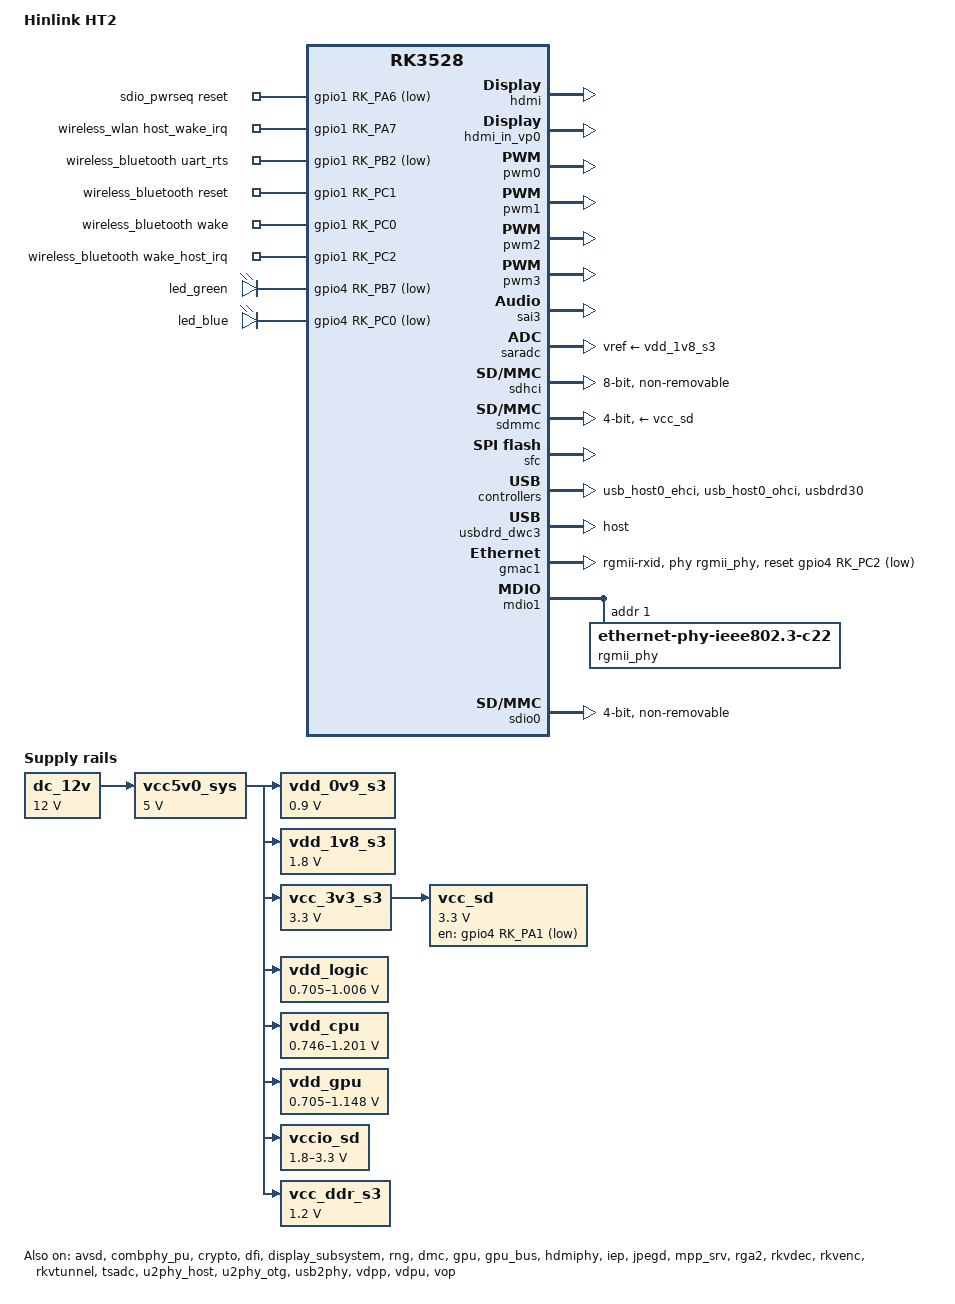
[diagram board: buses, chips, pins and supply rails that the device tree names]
// SPDX-License-Identifier: (GPL-2.0+ OR MIT)
/*
 * Copyright (c) 2024 Rockchip Electronics Co., Ltd.
 *
 */

/dts-v1/;

#include "rk3528.dtsi"
#include <dt-bindings/gpio/gpio.h>
#include <dt-bindings/input/rk-input.h>
#include <dt-bindings/pinctrl/rockchip.h>
#include "rk3528-linux.dtsi"
#include "../rockchip-drm-vvop.dtsi"

/ {
	model = "Hinlink HT2";
	compatible = "hinlink,ht2", "rockchip,rk3528";
	
	aliases {
		ethernet0 = &gmac1;
		mmc0 = &sdmmc;
		mmc1 = &sdhci;
		led-boot = &led_work;
		led-failsafe = &led_work;
		led-running = &led_work;
		led-upgrade = &led_work;
	};
	
	firmware: firmware {
		optee {
			compatible = "linaro,optee-tz";
			method = "smc";
		};
	};
	
	reserved_memory: reserved-memory {
		#address-cells = <2>;
		#size-cells = <2>;
		ranges;
		
		cmd: cma {
			compatible = "shared-dma-pool";
			reusable;
			size = <0x00 0x2000000>;
			linux,cma-default;
		};

		drm_logo: drm-logo@00000000 {
			compatible = "rockchip,drm-logo";
			reg = <0x0 0x0 0x0 0x0>;
		};

		drm_cubic_lut: drm-cubic-lut@00000000 {
			compatible = "rockchip,drm-cubic-lut";
			reg = <0x0 0x0 0x0 0x0>;
		};

		ramoops: ramoops@110000 {
			compatible = "ramoops";
			/* 0x110000 to 0x1f0000 is for ramoops */
			reg = <0x0 0x110000 0x0 0xe0000>;
			boot-log-size = <0x8000>;	/* do not change */
			boot-log-count = <0x1>;		/* do not change */
			console-size = <0x80000>;
			pmsg-size = <0x30000>;
			ftrace-size = <0x00000>;
			record-size = <0x14000>;
		};
	};

	adc_keys: adc-keys {
		status = "disabled";
		compatible = "adc-keys";
		io-channels = <&saradc 1>;
		io-channel-names = "buttons";
		keyup-threshold-microvolt = <1800000>;
		poll-interval = <100>;

		vol-up-key {
			label = "volume up";
			linux,code = <KEY_VOLUMEUP>;
			press-threshold-microvolt = <1750>;
		};
	};

	dc_12v: dc-12v {
		compatible = "regulator-fixed";
		regulator-name = "dc_12v";
		regulator-always-on;
		regulator-boot-on;
		regulator-min-microvolt = <12000000>;
		regulator-max-microvolt = <12000000>;
	};
	
	vcc5v0_sys: vcc5v0-sys {
		compatible = "regulator-fixed";
		regulator-name = "vcc5v0_sys";
		regulator-always-on;
		regulator-boot-on;
		regulator-min-microvolt = <5000000>;
		regulator-max-microvolt = <5000000>;
		vin-supply = <&dc_12v>;
	};
	
	vdd_0v9_s3: vdd-0v9-s3 {
		compatible = "regulator-fixed";
		regulator-name = "vdd_0v9_s3";
		regulator-always-on;
		regulator-boot-on;
		regulator-min-microvolt = <900000>;
		regulator-max-microvolt = <900000>;
		vin-supply = <&vcc5v0_sys>;
	};

	vdd_1v8_s3: vdd-1v8-s3 {
		compatible = "regulator-fixed";
		regulator-name = "vdd_1v8_s3";
		regulator-always-on;
		regulator-boot-on;
		regulator-min-microvolt = <1800000>;
		regulator-max-microvolt = <1800000>;
		vin-supply = <&vcc5v0_sys>;
	};

	vcc_3v3_s3: vcc-3v3-s3 {
		compatible = "regulator-fixed";
		regulator-name = "vcc_3v3_s3";
		regulator-always-on;
		regulator-boot-on;
		regulator-min-microvolt = <3300000>;
		regulator-max-microvolt = <3300000>;
		vin-supply = <&vcc5v0_sys>;
	};

	vdd_logic: vdd-logic {
		compatible = "pwm-regulator";
		pwms = <&pwm2 0 5000 1>;
		regulator-name = "vdd_logic";
		regulator-min-microvolt = <705000>;
		regulator-max-microvolt = <1006000>;
		regulator-init-microvolt = <900000>;
		regulator-always-on;
		regulator-boot-on;
		regulator-settling-time-up-us = <250>;
		pwm-supply = <&vcc5v0_sys>;
		status = "okay";
	};

	vdd_cpu: vdd-cpu {
		compatible = "pwm-regulator";
		pwms = <&pwm1 0 5000 1>;
		regulator-name = "vdd_cpu";
		regulator-min-microvolt = <746000>;
		regulator-max-microvolt = <1201000>;
		regulator-init-microvolt = <953000>;
		regulator-always-on;
		regulator-boot-on;
		regulator-ramp-delay = <6001>;
		regulator-settling-time-up-us = <250>;
		pwm-supply = <&vcc5v0_sys>;
		status = "okay";
	};

	vdd_gpu: vdd-gpu {
		compatible = "pwm-regulator";
		pwms = <&pwm0 0 5000 1>;
		regulator-name = "vdd_gpu";
		regulator-min-microvolt = <705000>;
		regulator-max-microvolt = <1148000>;
		regulator-init-microvolt = <900000>;
		regulator-always-on;
		regulator-boot-on;
		regulator-settling-time-up-us = <250>;
		pwm-supply = <&vcc5v0_sys>;
		status = "okay";
	};

	/omit-if-no-ref/
	vccio_sd: vccio-sd {
		compatible = "regulator-gpio";
		regulator-name = "vccio_sd";
		regulator-min-microvolt = <1800000>;
		regulator-max-microvolt = <3300000>;
		gpios = <&gpio4 RK_PB6 GPIO_ACTIVE_HIGH>;
		vin-supply = <&vcc5v0_sys>;
		states = <1800000 0x0
			  3300000 0x1>;
	};

	/omit-if-no-ref/
	vcc_sd: vcc-sd {
		compatible = "regulator-fixed";
		gpio = <&gpio4 RK_PA1 GPIO_ACTIVE_LOW>;
		regulator-name = "vcc_sd";
		regulator-min-microvolt = <3300000>;
		regulator-max-microvolt = <3300000>;
		vin-supply = <&vcc_3v3_s3>;
	};

	vcc_ddr_s3: vcc-ddr-s3 {
		compatible = "regulator-fixed";
		regulator-name = "vcc_ddr_s3";
		regulator-always-on;
		regulator-boot-on;
		regulator-min-microvolt = <1200000>;
		regulator-max-microvolt = <1200000>;
		vin-supply = <&vcc5v0_sys>;
	};
	
	hdmi_sound: hdmi-sound {
		compatible = "rockchip,hdmi";
		rockchip,mclk-fs = <128>;
		rockchip,card-name = "rockchip,hdmi";
		rockchip,cpu = <&sai3>;
		rockchip,codec = <&hdmi>;
		rockchip,jack-det;
	};

	sdio_pwrseq: sdio-pwrseq {
		compatible = "mmc-pwrseq-simple";
		pinctrl-names = "default";
		pinctrl-0 = <&wifi_enable_h>;
		reset-gpios = <&gpio1 RK_PA6 GPIO_ACTIVE_LOW>;
	};	

	wireless_wlan: wireless-wlan {
		compatible = "wlan-platdata";
		rockchip,grf = <&grf>;
		wifi_chip_type = "ap6275s";
		pinctrl-names = "default";
		pinctrl-0 = <&wifi_host_wake_irq>;
		WIFI,host_wake_irq = <&gpio1 RK_PA7 GPIO_ACTIVE_HIGH>;
		status = "okay";
	};

	wireless_bluetooth: wireless-bluetooth {
		compatible = "bluetooth-platdata";		
		//wifi-bt-power-toggle;
		uart_rts_gpios = <&gpio1 RK_PB2 GPIO_ACTIVE_LOW>;
		pinctrl-names = "default", "rts_gpio";
		pinctrl-0 = <&uart2m1_rtsn>, <&bt_reset_gpio>, <&bt_wake_gpio>, <&bt_host_wake_irq>;
		pinctrl-1 = <&uart2m1_gpios>;
		BT,reset_gpio    = <&gpio1 RK_PC1 GPIO_ACTIVE_HIGH>;
		BT,wake_gpio     = <&gpio1 RK_PC0 GPIO_ACTIVE_HIGH>;
		BT,wake_host_irq = <&gpio1 RK_PC2 GPIO_ACTIVE_HIGH>;
		status = "okay";
	};

	leds {
		compatible = "gpio-leds";
		pinctrl-names = "default";
		pinctrl-0 = <&led_green_en>, <&led_blue_en>;

		led_work: led-work {
			label = "led_green";
			gpios = <&gpio4 RK_PB7 GPIO_ACTIVE_LOW>;						
			linux,default-trigger = "heartbeat";
		};

		led-blue {
			label = "led_blue";
			gpios = <&gpio4 RK_PC0 GPIO_ACTIVE_LOW>;
			linux,default-trigger = "default-on";
		};
	};

};

&avsd {
	status = "okay";
};

&combphy_pu {
	status = "okay";
};

&cpu0 {
	cpu-supply = <&vdd_cpu>;
};

&crypto {
	status = "okay";
};

&dfi {
	status = "okay";
};

&display_subsystem {
	status = "okay";
	memory-region = <&drm_logo>, <&drm_cubic_lut>;
	memory-region-names = "drm-logo", "drm-cubic-lut";
	/* devfreq = <&dmc>; */

	route {
		route_hdmi: route-hdmi {
			status = "okay";
			logo,uboot = "logo.bmp";
			logo,kernel = "logo_kernel.bmp";
			logo,mode = "center";
			charge_logo,mode = "center";
			connect = <&vp0_out_hdmi>;
		};
		route_tve: route-tve {
			status = "okay";
			logo,uboot = "logo.bmp";
			logo,kernel = "logo_kernel.bmp";
			logo,mode = "center";
			charge_logo,mode = "center";
			connect = <&vp1_out_tve>;
		};
	};	
};

&rng {
	status = "okay";
};

&dmc {
	center-supply = <&vdd_logic>;
	status = "okay";
};

&gpu {
	mali-supply = <&vdd_gpu>;
	status = "okay";
};

&gpu_bus {
	bus-supply = <&vdd_logic>;
	status = "okay";
};

&hdmi {
	status = "okay";
};

&hdmi_in_vp0 {
	status = "okay";
};

&hdmiphy {
	status = "okay";
};

&iep {
	status = "okay";
};

&iep_mmu {
	status = "okay";
};

&jpegd {
	status = "okay";
};

&jpegd_mmu {
	status = "okay";
};

&mpp_srv {
	status = "okay";
};

&pwm0 {
	status = "okay";
};

&pwm1 {
	status = "okay";
};

&pwm2 {
	status = "okay";
};

&pwm3 {
	compatible = "rockchip,remotectl-pwm";
	pinctrl-names = "default";
	pinctrl-0 = <&pwm3m0_pins>;
	remote_pwm_id = <3>;
	handle_cpu_id = <1>;
	remote_support_psci = <0>;
	status = "okay";

	ir_key1 {
		rockchip,usercode = <0x4040>;
		rockchip,key_table =
			<0xf2	KEY_REPLY>,
			<0xba	KEY_BACK>,
			<0xf4	KEY_UP>,
			<0xf1	KEY_DOWN>,
			<0xef	KEY_LEFT>,
			<0xee	KEY_RIGHT>,
			<0xbd	KEY_HOME>,
			<0xea	KEY_VOLUMEUP>,
			<0xe3	KEY_VOLUMEDOWN>,
			<0xe2	KEY_SEARCH>,
			<0xb2	KEY_POWER>,
			<0xbc	KEY_MUTE>,
			<0xec	KEY_MENU>,
			<0xbf	0x190>,
			<0xe0	0x191>,
			<0xe1	0x192>,
			<0xe9	183>,
			<0xe6	248>,
			<0xe8	185>,
			<0xe7	186>,
			<0xf0	388>,
			<0xbe	0x175>;
	};

	ir_key2 {
		rockchip,usercode = <0xff00>;
		rockchip,key_table =
			<0xf9	KEY_HOME>,
			<0xbf	KEY_BACK>,
			<0xfb	KEY_MENU>,
			<0xaa	KEY_REPLY>,
			<0xb9	KEY_UP>,
			<0xe9	KEY_DOWN>,
			<0xb8	KEY_LEFT>,
			<0xea	KEY_RIGHT>,
			<0xeb	KEY_VOLUMEDOWN>,
			<0xef	KEY_VOLUMEUP>,
			<0xf7	KEY_MUTE>,
			<0xe7	KEY_POWER>,
			<0xfc	KEY_POWER>,
			<0xa9	KEY_VOLUMEDOWN>,
			<0xa8	KEY_PLAYPAUSE>,
			<0xe0	KEY_VOLUMEDOWN>,
			<0xa5	KEY_VOLUMEDOWN>,
			<0xab	183>,
			<0xb7	388>,
			<0xe8	388>,
			<0xf8	184>,
			<0xaf	185>,
			<0xed	KEY_VOLUMEDOWN>,
			<0xee	186>,
			<0xb3	KEY_VOLUMEDOWN>,
			<0xf1	KEY_VOLUMEDOWN>,
			<0xf2	KEY_VOLUMEDOWN>,
			<0xf3	KEY_SEARCH>,
			<0xb4	KEY_VOLUMEDOWN>,
			<0xa4	KEY_SETUP>,
			<0xbe	KEY_SEARCH>;
	};

	ir_key3 {
		rockchip,usercode = <0x1dcc>;
		rockchip,key_table =
			<0xee	KEY_REPLY>,
			<0xf0	KEY_BACK>,
			<0xf8	KEY_UP>,
			<0xbb	KEY_DOWN>,
			<0xef	KEY_LEFT>,
			<0xed	KEY_RIGHT>,
			<0xfc	KEY_HOME>,
			<0xf1	KEY_VOLUMEUP>,
			<0xfd	KEY_VOLUMEDOWN>,
			<0xb7	KEY_SEARCH>,
			<0xff	KEY_POWER>,
			<0xf3	KEY_MUTE>,
			<0xbf	KEY_MENU>,
			<0xf9	0x191>,
			<0xf5	0x192>,
			<0xb3	388>,
			<0xbe	KEY_1>,
			<0xba	KEY_2>,
			<0xb2	KEY_3>,
			<0xbd	KEY_4>,
			<0xf9	KEY_5>,
			<0xb1	KEY_6>,
			<0xfc	KEY_7>,
			<0xf8	KEY_8>,
			<0xb0	KEY_9>,
			<0xb6	KEY_0>,
			<0xb5	KEY_BACKSPACE>;
	};
};

&rga2 {
	status = "okay";
};

&rga2_mmu {
	status = "okay";
};

&rkvdec {
	status = "okay";
};

&rkvdec_mmu {
	status = "okay";
};

&rkvenc {
	status = "okay";
};

&rkvenc_mmu {
	status = "okay";
};

&rkvtunnel {
	status = "okay";
};

&rockchip_suspend {
	status = "okay";
	rockchip,sleep-debug-en = <1>;
	rockchip,virtual-poweroff = <1>;
	rockchip,sleep-mode-config = <
		(0
		| RKPM_SLP_ARMPD
		)
	>;
	rockchip,wakeup-config = <
		(0
		| RKPM_CPU0_WKUP_EN
		| RKPM_GPIO_WKUP_EN
		)
	>;
	rockchip,pwm-regulator-config = <
		(0
		| RKPM_PWM0_M0_REGULATOR_EN
		| RKPM_PWM1_M0_REGULATOR_EN
		)
	>;
};

&sai3 {
	status = "okay";
};

&saradc {
	status = "okay";
	vref-supply = <&vdd_1v8_s3>;
};

&sdhci {
	bus-width = <8>;
	no-sd;
	no-sdio;
	non-removable;
	mmc-hs400-1_8v;
	mmc-hs400-enhanced-strobe;
	max-frequency = <200000000>;
	status = "okay";
};

&sdmmc {
	bus-width = <4>;
	cap-mmc-highspeed;
	cap-sd-highspeed;
	disable-wp;
	max-frequency = <150000000>;
	pinctrl-names = "default";
	pinctrl-0 = <&sdmmc_clk &sdmmc_cmd &sdmmc_det &sdmmc_bus4>;
	rockchip,default-sample-phase = <90>;
	supports-sd;
	sd-uhs-sdr12;
	sd-uhs-sdr25;
	sd-uhs-sdr50;
	sd-uhs-sdr104;
	vqmmc-supply = <&vccio_sd>;
	vmmc-supply = <&vcc_sd>;
	status = "okay";
};

&sfc {
	status = "okay";
};

&spdif_8ch {
	status = "disabled";
};

&tsadc {
	status = "okay";
};

&tve {
	status = "disabled";
};

&tve_in_vp1 {
	status = "disabled";
};

&u2phy_host {
	status = "okay";
};

&u2phy_otg {
	status = "okay";
};

&usb2phy {
	status = "okay";
};

&usb_host0_ehci {
	status = "okay";
};

&usb_host0_ohci {
	status = "okay";
};

&usbdrd30 {
	status = "okay";
};

&usbdrd_dwc3 {
	dr_mode = "host";
	extcon = <&usb2phy>;
	status = "okay";
};

&vdpp {
	status = "okay";
};

&vdpu {
	status = "okay";
};

&vdpu_mmu {
	status = "okay";
};

&vop {
	status = "okay";
};

&vop_mmu {
	status = "okay";
};

&gmac0 {
	status = "disabled";
};

&gmac1 {
	/* Use rgmii-rxid mode to disable rx delay inside Soc */
	phy-mode = "rgmii-rxid";
	clock_in_out = "output";

	snps,reset-gpio = <&gpio4 RK_PC2 GPIO_ACTIVE_LOW>;
	snps,reset-active-low;
	/* Reset time is 20ms, 100ms for rtl8211f */
	snps,reset-delays-us = <0 20000 100000>;

	tx_delay = <0x30>;
	/* rx_delay = <0x3f>; */

	pinctrl-names = "default";
	pinctrl-0 = <&rgmii_miim
		     &rgmii_tx_bus2
		     &rgmii_rx_bus2
		     &rgmii_rgmii_clk
		     &rgmii_rgmii_bus>;

	phy-handle = <&rgmii_phy>;
	status = "okay";
};

&mdio1 {
	rgmii_phy: phy@1 {
		compatible = "ethernet-phy-ieee802.3-c22";
		reg = <0x1>;
	};
};

&sdio0 {
	max-frequency = <200000000>;
	no-sd;
	no-mmc;
	supports-sdio;
	bus-width = <4>;
	disable-wp;
	cap-sd-highspeed;
	cap-sdio-irq;
	keep-power-in-suspend;
	non-removable;
	mmc-pwrseq = <&sdio_pwrseq>;
	/*rockchip,default-sample-phase = <90>;*/
	pinctrl-names = "default";
	pinctrl-0 = <&sdio0_bus4 &sdio0_cmd &sdio0_clk>;
	/delete-property/ rockchip,use-v2-tuning;
	sd-uhs-sdr104;
	status = "okay";
};

&pinctrl {
	leds {
		led_green_en: led-green-en {
			rockchip,pins = <4 RK_PB7 RK_FUNC_GPIO &pcfg_pull_none>;
		};
		led_blue_en: led-blue-en {
			rockchip,pins = <4 RK_PC0 RK_FUNC_GPIO &pcfg_pull_none>;
		};				
	};
	
	sdio-pwrseq {
		wifi_enable_h: wifi-enable-h {
			rockchip,pins = <1 RK_PA6 RK_FUNC_GPIO &pcfg_pull_up>;
		};
	};

	wireless-wlan {
		wifi_host_wake_irq: wifi-host-wake-irq {
			rockchip,pins = <1 RK_PA7 RK_FUNC_GPIO &pcfg_pull_down>;
		};
	};

	wireless-bluetooth {
		uart2m1_gpios: uart2m1-gpios {
			rockchip,pins = <1 RK_PB2 RK_FUNC_GPIO &pcfg_pull_none>;
		};
		bt_reset_gpio: bt-reset-gpio {
			rockchip,pins = <1 RK_PC1 RK_FUNC_GPIO &pcfg_pull_none>;
		};
		bt_wake_gpio: bt-wake-gpio {
			rockchip,pins = <1 RK_PC0 RK_FUNC_GPIO &pcfg_pull_none>;
		};
		bt_host_wake_irq: bt-host-wake-irq {
			rockchip,pins = <1 RK_PC2 RK_FUNC_GPIO &pcfg_pull_down>;
		};
	};
};
